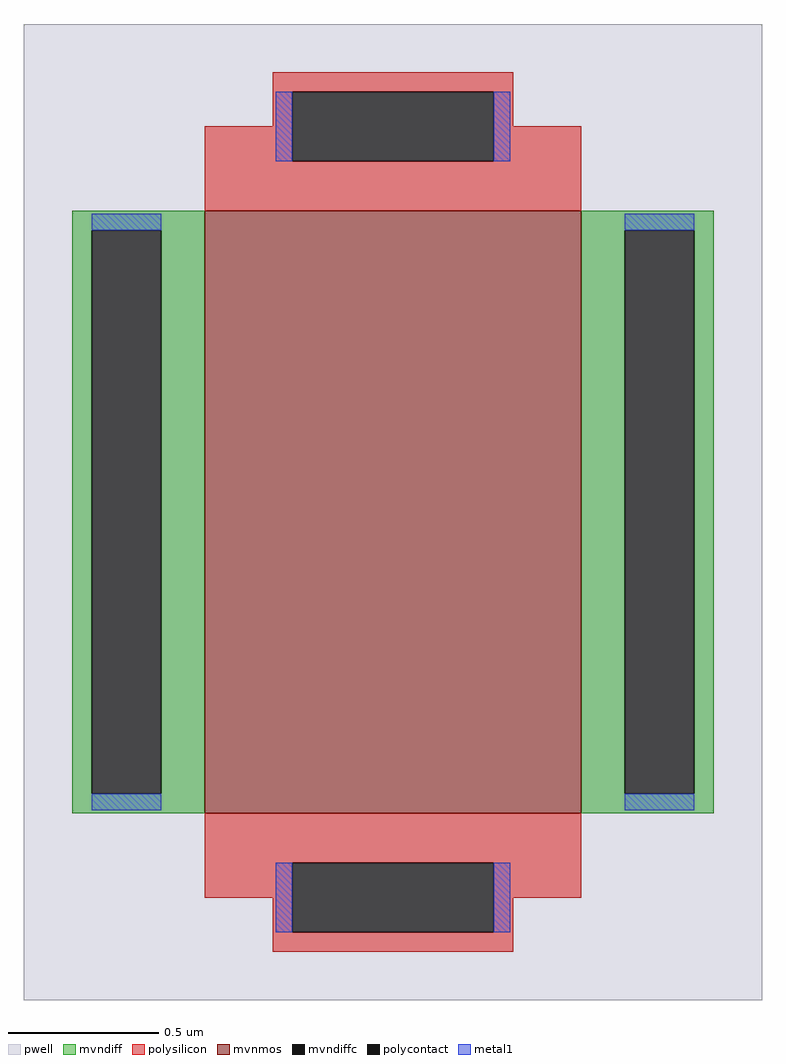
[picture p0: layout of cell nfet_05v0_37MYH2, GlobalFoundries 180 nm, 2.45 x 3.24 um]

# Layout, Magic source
magic
tech gf180mcuD
magscale 1 10
<< pwell >>
rect -245 -324 245 324
<< mvnmos >>
rect -125 -200 125 200
<< mvndiff >>
rect -213 187 -125 200
rect -213 -187 -200 187
rect -154 -187 -125 187
rect -213 -200 -125 -187
rect 125 187 213 200
rect 125 -187 154 187
rect 200 -187 213 187
rect 125 -200 213 -187
<< mvndiffc >>
rect -200 -187 -154 187
rect 154 -187 200 187
<< polysilicon >>
rect -80 279 80 292
rect -80 256 -67 279
rect -125 233 -67 256
rect 67 256 80 279
rect 67 233 125 256
rect -125 200 125 233
rect -125 -233 125 -200
rect -125 -256 -67 -233
rect -80 -279 -67 -256
rect 67 -256 125 -233
rect 67 -279 80 -256
rect -80 -292 80 -279
<< polycontact >>
rect -67 233 67 279
rect -67 -279 67 -233
<< metal1 >>
rect -78 233 -67 279
rect 67 233 78 279
rect -200 187 -154 198
rect -200 -198 -154 -187
rect 154 187 200 198
rect 154 -198 200 -187
rect -78 -279 -67 -233
rect 67 -279 78 -233
<< properties >>
string gencell nfet_05v0
string library gf180mcu
string parameters w 2 l 1.25 m 1 nf 1 diffcov 100 polycov 60 guard 0 glc 1 grc 1 gtc 0 gbc 0 tbcov 100 rlcov 100 topc 1 botc 1 poverlap 0 doverlap 1 lmin 0.7 wmin 0.3 class mosfet full_metal 1 compatible {nfet_03v3 nfet_05v0 nfet_06v0 nfet_06v0_nvt}
<< end >>
